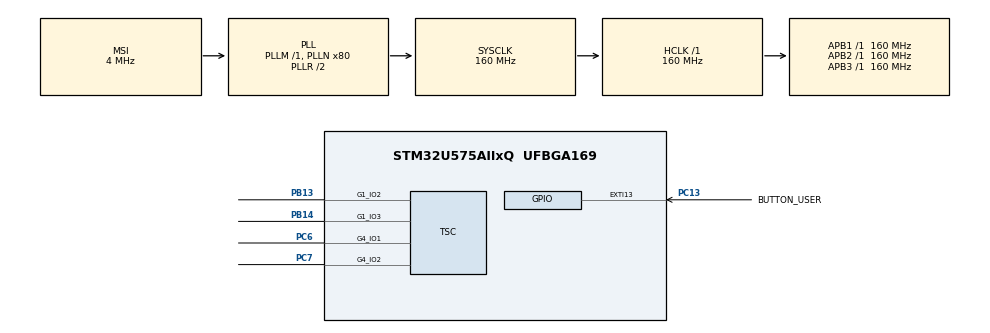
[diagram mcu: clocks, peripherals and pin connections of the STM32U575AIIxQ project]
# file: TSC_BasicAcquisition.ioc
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CORTEX_M33_NS.userName=CORTEX_M33
Mcu.Family=STM32U5
Mcu.Name=STM32U575AIIxQ
Mcu.Package=UFBGA169
NVIC.EXTI13_IRQn=true\:0\:0\:false\:false\:true\:true\:true\:true
NVIC.PriorityGroup=NVIC_PRIORITYGROUP_4
PB13.Mode=G1_IO2-Shield
PB13.Signal=TSC_G1_IO2
PB14.Mode=G1_IO3-Sampling
PB14.Signal=TSC_G1_IO3
PC13.GPIO_Label=BUTTON_USER
PC13.Signal=GPXTI13
PC6.Mode=G4_IO1-Channel
PC6.Signal=TSC_G4_IO1
PC7.Mode=G4_IO2-Sampling
PC7.Signal=TSC_G4_IO2
PWR.PowerMode=PWR_SMPS_SUPPLY
ProjectManager.HeapSize=0x200
ProjectManager.StackSize=0x1000
ProjectManager.TargetToolchain=EWARM V8.50
RCC.ADCFreq_Value=16000000
RCC.AHBFreq_Value=160000000
RCC.APB1Freq_Value=160000000
RCC.APB1TimFreq_Value=160000000
RCC.APB2Freq_Value=160000000
RCC.APB2TimFreq_Value=160000000
RCC.APB3Freq_Value=160000000
RCC.CortexFreq_Value=160000000
RCC.DACCLockSelectionVirtual=RCC_DAC1CLKSOURCE_LSI
RCC.DACCLockSelectionVirtualString=RCC_DAC1CLKSOURCE_LSI
RCC.EPOD_VALUE=4000000
RCC.HCLKFreq_Value=160000000
RCC.HSE_VALUE=16000000
RCC.HSI48_VALUE=48000000
RCC.HSI_VALUE=16000000
RCC.LSE_VALUE=32768
RCC.LSIDIV_VALUE=32000
RCC.MSI_VALUE=4000000
RCC.PLLN=80
RCC.SYSCLKFreq_VALUE=160000000
RCC.SYSCLKSource=RCC_SYSCLKSOURCE_PLLCLK
RCC.USBFreq_Value=48000000
RCC.VCOOutputFreq_Value=320000000
TSC.ChannelIOs-G4_IO1=TSC_GROUP4_IO1
TSC.MaxCountValue=TSC_MCV_16383
TSC.PulseGeneratorPrescaler=TSC_PG_PRESC_DIV64
TSC.SamplingIOs-G1_IO3=TSC_GROUP1_IO3
TSC.SamplingIOs-G4_IO2=TSC_GROUP4_IO2
TSC.ShieldIOs-G1_IO2=TSC_GROUP1_IO2
TSC.SpreadSpectrum=ENABLE
TSC.SpreadSpectrumDeviation=127
VP_ICACHE_VS_ICACHE.Mode=DirectMappedCache
VP_LPBAMQUEUE_VS_QUEUE.Mode=QUEUEMODE
VP_LPBAM_VS_SIG1.Mode=SmartRun
VP_LPBAM_VS_SIG4.Mode=LPDMA1
VP_PWR_VS_DBSignals.Mode=DisableDeadBatterySignals
VP_PWR_VS_LPOM.Mode=PowerOptimisation
VP_PWR_VS_SECSignals.Mode=Security/Privilege
board=custom

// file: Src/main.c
/* USER CODE BEGIN Header */
/**
  ******************************************************************************
  * @file           : main.c
  * @brief          : Main program body
  ******************************************************************************
  * @attention
  *
  * Copyright (c) 2021 STMicroelectronics.
  * All rights reserved.
  *
  * This software is licensed under terms that can be found in the LICENSE file
  * in the root directory of this software component.
  * If no LICENSE file comes with this software, it is provided AS-IS.
  *
  ******************************************************************************
  */
/* USER CODE END Header */
#include "main.h"

/* USER CODE BEGIN Includes */
#include "stdio.h"
#include "stdlib.h"
#include "string.h"
#include "stlogo.h"
/* USER CODE END Includes */

/* USER CODE BEGIN PD */
#define TSCx_TS1_MAXTHRESHOLD 15 /* This value can be modified, board layout dependency */
/* USER CODE END PD */

TSC_HandleTypeDef htsc;

/* USER CODE BEGIN PV */
__IO FlagStatus UserButtonPressed   = RESET;
/* Variable used to store the acquisition value of the channem */
__IO uint32_t uhTSCAcquisitionValue;
uint32_t TSCUntouchedValue;
TSC_IOConfigTypeDef IoConfig;

/* Components Initialization Status */
FlagStatus ButtonInitialized = RESET;
FlagStatus LcdInitialized    = RESET;
FlagStatus LedInitialized    = RESET;
/* USER CODE END PV */

void SystemClock_Config(void);
static void SystemPower_Config(void);
static void MX_GPIO_Init(void);
static void MX_ICACHE_Init(void);
static void MX_TSC_Init(void);
/* USER CODE BEGIN PFP */
static void MPU_Config(void);
static void TscCalibration(void);
static void SystemHardwareInit(void);
static void Display_DemoDescription(void);
/* USER CODE END PFP */

int main(void)
{

  /* MCU Configuration--------------------------------------------------------*/

  /* Reset of all peripherals, Initializes the Flash interface and the Systick. */
  HAL_Init();

  /* USER CODE BEGIN Init */
  /* Configure the MPU attributes for SRAM */
  MPU_Config();

  /* USER CODE END Init */

  /* Configure the System Power */
  SystemPower_Config();

  /* Configure the system clock */
  SystemClock_Config();

  /* USER CODE BEGIN SysInit */

  /* System Hardware components initialization (Leds, button and LCD) */
  SystemHardwareInit();

  /* Display demo description */
  Display_DemoDescription();

  /* Wait for button press */
  while (UserButtonPressed != SET);
  /* USER CODE END SysInit */

  /* Initialize all configured peripherals */
  MX_GPIO_Init();
  MX_ICACHE_Init();
  MX_TSC_Init();

  /* Infinite loop */
  /* USER CODE BEGIN WHILE */
  /* TSC calibration, to store the untouched value */
  TscCalibration();

  while (1)
  {
    /*##-1- Discharge the touch-sensing IOs ####################################*/
    HAL_TSC_IODischarge(&htsc, ENABLE);
    /* Note: a delay can be added here */
    HAL_Delay(1);

    /*##-2- Check if the acquisition is correct (no max count) #################*/
    if (HAL_TSC_GroupGetStatus(&htsc, TSC_GROUP4_IDX) == TSC_GROUP_COMPLETED)
    {
      /*##-3- Read the acquisition value #######################################*/
      uhTSCAcquisitionValue = HAL_TSC_GroupGetValue(&htsc, TSC_GROUP4_IDX);

      /* Note: Show the touch activity on LEDs and LCD.
         The threshold value is indicative and may need to be adjusted */
      if ((TSCUntouchedValue - uhTSCAcquisitionValue) > TSCx_TS1_MAXTHRESHOLD)
      {
        /* TS1 touch detected */
        UTIL_LCD_FillRect(0, 150, 320, 50, UTIL_LCD_COLOR_GREEN);
        HAL_Delay(10);
        BSP_LED_On(LED5);
        BSP_LED_Off(LED6);
      }
      else
      {
        /* TS1 not touched */;
        UTIL_LCD_FillRect(0, 150, 320, 50, UTIL_LCD_COLOR_BLUE);
        BSP_LED_Off(LED5);
        BSP_LED_On(LED6);
      }
    }

    /*##-4- Re-start the acquisition process ###################################*/
    if (HAL_TSC_Start(&htsc) != HAL_OK)
    {
      /* Acquisition Error */
      Error_Handler();
    }
    /* USER CODE END WHILE */

  }
}

void SystemClock_Config(void)
{
  RCC_OscInitTypeDef RCC_OscInitStruct = {0};
  RCC_ClkInitTypeDef RCC_ClkInitStruct = {0};

  /** Configure the main internal regulator output voltage
  */
  if (HAL_PWREx_ControlVoltageScaling(PWR_REGULATOR_VOLTAGE_SCALE1) != HAL_OK)
  {
    Error_Handler();
  }

  /** Initializes the CPU, AHB and APB buses clocks
  */
  RCC_OscInitStruct.OscillatorType = RCC_OSCILLATORTYPE_MSI;
  RCC_OscInitStruct.MSIState = RCC_MSI_ON;
  RCC_OscInitStruct.MSICalibrationValue = RCC_MSICALIBRATION_DEFAULT;
  RCC_OscInitStruct.MSIClockRange = RCC_MSIRANGE_4;
  RCC_OscInitStruct.PLL.PLLState = RCC_PLL_ON;
  RCC_OscInitStruct.PLL.PLLSource = RCC_PLLSOURCE_MSI;
  RCC_OscInitStruct.PLL.PLLMBOOST = RCC_PLLMBOOST_DIV1;
  RCC_OscInitStruct.PLL.PLLM = 1;
  RCC_OscInitStruct.PLL.PLLN = 80;
  RCC_OscInitStruct.PLL.PLLP = 2;
  RCC_OscInitStruct.PLL.PLLQ = 2;
  RCC_OscInitStruct.PLL.PLLR = 2;
  RCC_OscInitStruct.PLL.PLLRGE = RCC_PLLVCIRANGE_0;
  RCC_OscInitStruct.PLL.PLLFRACN = 0;
  if (HAL_RCC_OscConfig(&RCC_OscInitStruct) != HAL_OK)
  {
    Error_Handler();
  }

  /** Initializes the CPU, AHB and APB buses clocks
  */
  RCC_ClkInitStruct.ClockType = RCC_CLOCKTYPE_HCLK|RCC_CLOCKTYPE_SYSCLK
                              |RCC_CLOCKTYPE_PCLK1|RCC_CLOCKTYPE_PCLK2
                              |RCC_CLOCKTYPE_PCLK3;
  RCC_ClkInitStruct.SYSCLKSource = RCC_SYSCLKSOURCE_PLLCLK;
  RCC_ClkInitStruct.AHBCLKDivider = RCC_SYSCLK_DIV1;
  RCC_ClkInitStruct.APB1CLKDivider = RCC_HCLK_DIV1;
  RCC_ClkInitStruct.APB2CLKDivider = RCC_HCLK_DIV1;
  RCC_ClkInitStruct.APB3CLKDivider = RCC_HCLK_DIV1;

  if (HAL_RCC_ClockConfig(&RCC_ClkInitStruct, FLASH_LATENCY_4) != HAL_OK)
  {
    Error_Handler();
  }
}

/**
  * @brief Power Configuration
  * @retval None
  */
static void SystemPower_Config(void)
{

  /*
   * Disable the internal Pull-Up in Dead Battery pins of UCPD peripheral
   */
  HAL_PWREx_DisableUCPDDeadBattery();

  /*
   * Switch to SMPS regulator instead of LDO
   */
  if (HAL_PWREx_ConfigSupply(PWR_SMPS_SUPPLY) != HAL_OK)
  {
    Error_Handler();
  }
}

static void MX_ICACHE_Init(void)
{

  /** Enable instruction cache in 1-way (direct mapped cache)
  */
  if (HAL_ICACHE_ConfigAssociativityMode(ICACHE_1WAY) != HAL_OK)
  {
    Error_Handler();
  }
  if (HAL_ICACHE_Enable() != HAL_OK)
  {
    Error_Handler();
  }

}

static void MX_TSC_Init(void)
{

  /** Configure the TSC peripheral
  */
  htsc.Instance = TSC;
  htsc.Init.CTPulseHighLength = TSC_CTPH_2CYCLES;
  htsc.Init.CTPulseLowLength = TSC_CTPL_2CYCLES;
  htsc.Init.SpreadSpectrum = ENABLE;
  htsc.Init.SpreadSpectrumDeviation = 127;
  htsc.Init.SpreadSpectrumPrescaler = TSC_SS_PRESC_DIV1;
  htsc.Init.PulseGeneratorPrescaler = TSC_PG_PRESC_DIV64;
  htsc.Init.MaxCountValue = TSC_MCV_16383;
  htsc.Init.IODefaultMode = TSC_IODEF_OUT_PP_LOW;
  htsc.Init.SynchroPinPolarity = TSC_SYNC_POLARITY_FALLING;
  htsc.Init.AcquisitionMode = TSC_ACQ_MODE_NORMAL;
  htsc.Init.MaxCountInterrupt = DISABLE;
  htsc.Init.ChannelIOs = TSC_GROUP4_IO1;
  htsc.Init.ShieldIOs = TSC_GROUP1_IO2;
  htsc.Init.SamplingIOs = TSC_GROUP1_IO3|TSC_GROUP4_IO2;
  if (HAL_TSC_Init(&htsc) != HAL_OK)
  {
    Error_Handler();
  }
  /* USER CODE BEGIN TSC_Init 2 */

  /*##-2- Configure the touch-sensing IOs ####################################*/
  IoConfig.ChannelIOs  = TSC_GROUP4_IO1;
  IoConfig.SamplingIOs = (TSC_GROUP4_IO2 | TSC_GROUP1_IO3);
  IoConfig.ShieldIOs   = TSC_GROUP1_IO2;

  if (HAL_TSC_IOConfig(&htsc, &IoConfig) != HAL_OK)
  {
    /* Initialization Error */
    Error_Handler();
  }

  /*##-3- Discharge the touch-sensing IOs ####################################*/
  HAL_TSC_IODischarge(&htsc, ENABLE);
  HAL_Delay(1); /* 1 ms is more than enough to discharge all capacitors */

  /*##-4- Start the acquisition process ######################################*/
  if (HAL_TSC_Start(&htsc) != HAL_OK)
  {
    /* Acquisition Error */
    Error_Handler();
  }
  /* USER CODE END TSC_Init 2 */

}

static void MX_GPIO_Init(void)
{
  GPIO_InitTypeDef GPIO_InitStruct = {0};

  /* GPIO Ports Clock Enable */
  __HAL_RCC_GPIOC_CLK_ENABLE();
  __HAL_RCC_GPIOB_CLK_ENABLE();

  /*Configure GPIO pin : BUTTON_USER_Pin */
  GPIO_InitStruct.Pin = BUTTON_USER_Pin;
  GPIO_InitStruct.Mode = GPIO_MODE_IT_RISING;
  GPIO_InitStruct.Pull = GPIO_NOPULL;
  HAL_GPIO_Init(BUTTON_USER_GPIO_Port, &GPIO_InitStruct);

  /* EXTI interrupt init*/
  HAL_NVIC_SetPriority(EXTI13_IRQn, 0, 0);
  HAL_NVIC_EnableIRQ(EXTI13_IRQn);

}

/* USER CODE BEGIN 4 */

/**
  * @brief  BSP Push Button callback
  * @param  Button Specifies the pin connected EXTI line
  * @retval None.
  */
void HAL_GPIO_EXTI_Rising_Callback(uint16_t GPIO_Pin)
{
  if (GPIO_Pin == GPIO_PIN_13)
  {
    UserButtonPressed = SET;
  }
}

/**
  * @brief  System Hardware Configuration at Boot
  * @param  None
  * @retval None
  */
static void SystemHardwareInit(void)
{
  /* Init LEDs  */
  if (LedInitialized != SET)
  {
    if (BSP_LED_Init(LED5) != BSP_ERROR_NONE)
    {
      Error_Handler();
    }
    if (BSP_LED_Init(LED6) != BSP_ERROR_NONE)
    {
      Error_Handler();
    }
    LedInitialized = SET;
  }

  /* Init User push-button in EXTI Mode */
  if (ButtonInitialized != SET)
  {
    if (BSP_PB_Init(BUTTON_USER, BUTTON_MODE_EXTI) != BSP_ERROR_NONE)
    {
      Error_Handler();
    }
    ButtonInitialized = SET;
  }

  /* Initialize the LCD */
  if (LcdInitialized != SET)
  {
    /* Initialize the LCD */
    if (BSP_LCD_Init(0, LCD_ORIENTATION_LANDSCAPE) != BSP_ERROR_NONE)
    {
      Error_Handler();
    }

    /* Set LCD functions */
    UTIL_LCD_SetFuncDriver(&LCD_Driver);

    /* Clear the LCD */
    UTIL_LCD_Clear(UTIL_LCD_COLOR_WHITE);

    /* Set the display on */
    if (BSP_LCD_DisplayOn(0) != BSP_ERROR_NONE)
    {
      Error_Handler();
    }

    LcdInitialized = SET;
  }
}

/**
  * @brief  Touch Sensing Controller Calibration
  * @param  None
  * @retval None
  */
static void TscCalibration(void)
{
  UTIL_LCD_SetTextColor(UTIL_LCD_COLOR_WHITE);
  UTIL_LCD_FillRect(0, 150, 320, 50, UTIL_LCD_COLOR_BLUE);
  UTIL_LCD_DisplayStringAt(0, 165, (uint8_t *)"CALIBRATION..", CENTER_MODE);
  HAL_Delay(500);

  /*##-1- Discharge the touch-sensing IOs ####################################*/
  HAL_TSC_IODischarge(&htsc, ENABLE);
  /* Note: a delay can be added here */
  HAL_Delay(1);

  /*##-2- Check if the acquisition is correct (no max count) #################*/
  if (HAL_TSC_GroupGetStatus(&htsc, TSC_GROUP4_IDX) == TSC_GROUP_COMPLETED)
  {
    /*##-3- Read the acquisition value #######################################*/
    uhTSCAcquisitionValue = HAL_TSC_GroupGetValue(&htsc, TSC_GROUP4_IDX);

    /* Store the registered value */
    TSCUntouchedValue = uhTSCAcquisitionValue;
  }

  /*##-4- Re-start the acquisition process ###################################*/
  if (HAL_TSC_Start(&htsc) != HAL_OK)
  {
    /* Acquisition Error */
    Error_Handler();
  }
}

/**
  * @brief  Display main demo messages
  * @param  None
  * @retval None
  */
static void Display_DemoDescription(void)
{
  /* Set font */
  UTIL_LCD_SetFont(&Font24);

  /* Clear the LCD */
  UTIL_LCD_Clear(UTIL_LCD_COLOR_WHITE);

  /* Set the LCD Text Color */
  UTIL_LCD_SetTextColor(UTIL_LCD_COLOR_DARKBLUE);
  UTIL_LCD_SetBackColor(UTIL_LCD_COLOR_WHITE);

  /* Display LCD messages */
  UTIL_LCD_DisplayStringAt(0, 10, (uint8_t *)"STM32U575I-EV", CENTER_MODE);
  UTIL_LCD_DisplayStringAt(0, 35, (uint8_t *)"TSC example", CENTER_MODE);

  /* Draw Bitmap */
  UTIL_LCD_DrawBitmap(120, 65, (uint8_t *)stlogo);

  UTIL_LCD_SetFont(&Font12);
  UTIL_LCD_DisplayStringAt(0, 220, (uint8_t *)"Copyright (c) STMicroelectronics 2021", CENTER_MODE);

  UTIL_LCD_SetFont(&Font16);
  UTIL_LCD_FillRect(0, 150, 320, 50, UTIL_LCD_COLOR_BLUE);
  UTIL_LCD_SetTextColor(UTIL_LCD_COLOR_WHITE);
  UTIL_LCD_SetBackColor(UTIL_LCD_COLOR_BLUE);
  UTIL_LCD_DisplayStringAt(0, 150, (uint8_t *)"Press USER push-button", CENTER_MODE);
  UTIL_LCD_DisplayStringAt(0, 165, (uint8_t *)"to start:", CENTER_MODE);
  UTIL_LCD_SetTextColor(UTIL_LCD_COLOR_ORANGE);
  UTIL_LCD_DisplayStringAt(0, 180, (uint8_t *)"Touch Sensing Controller TSC", CENTER_MODE);
}

/**
  * @brief  Configure the MPU attributes.
  * @note   The Base Address is External SRAM
  * @param  None
  * @retval None
  */
static void MPU_Config(void)
{
  MPU_Attributes_InitTypeDef   attr;
  MPU_Region_InitTypeDef       region;

  /* Disable MPU before perloading and config update */
  HAL_MPU_Disable();

  /* Define cacheable memory via MPU */
  attr.Number             = MPU_ATTRIBUTES_NUMBER0;
  attr.Attributes         = 0 ;
  HAL_MPU_ConfigMemoryAttributes(&attr);

  /* BaseAddress-LimitAddress configuration */
  region.Enable           = MPU_REGION_ENABLE;
  region.Number           = MPU_REGION_NUMBER0;
  region.AttributesIndex  = MPU_ATTRIBUTES_NUMBER0;
  region.BaseAddress      = FMC_ADDRESS;
  region.LimitAddress     = FMC_ADDRESS + REGION_SIZE - 1;
  region.AccessPermission = MPU_REGION_ALL_RW;
  region.DisableExec      = MPU_INSTRUCTION_ACCESS_ENABLE;
  region.IsShareable      = MPU_ACCESS_NOT_SHAREABLE;
  HAL_MPU_ConfigRegion(&region);

  /* Enable the MPU */
  HAL_MPU_Enable(MPU_PRIVILEGED_DEFAULT);
}
/* USER CODE END 4 */

void Error_Handler(void)
{
  /* USER CODE BEGIN Error_Handler_Debug */
  /* User can add his own implementation to report the HAL error return state */
  __disable_irq();
  while (1)
  {
    BSP_LED_Toggle(LED6);
    HAL_Delay(200);
  }
  /* USER CODE END Error_Handler_Debug */
}
